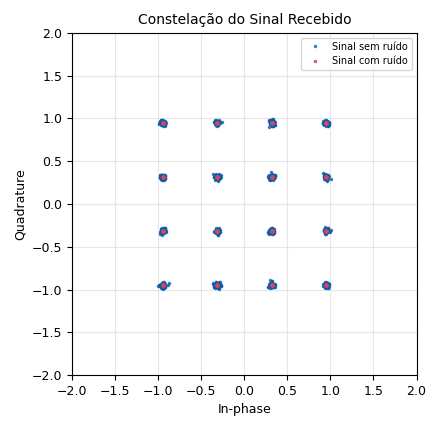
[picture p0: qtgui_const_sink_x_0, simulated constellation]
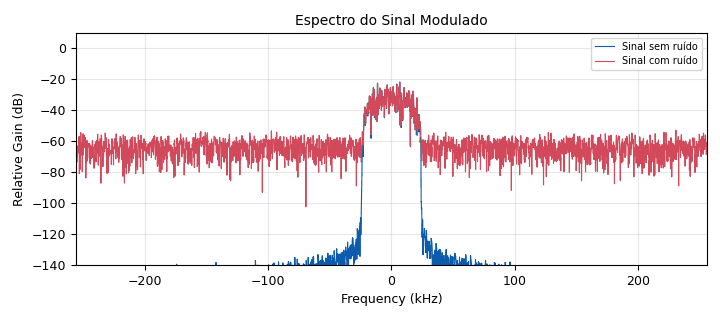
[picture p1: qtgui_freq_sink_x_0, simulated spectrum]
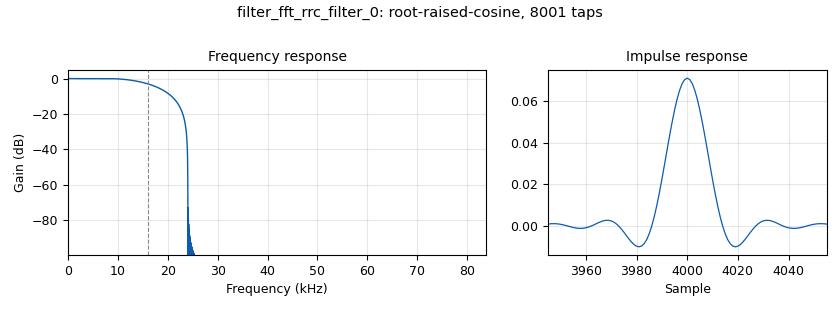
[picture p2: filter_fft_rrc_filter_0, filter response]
options:
  parameters:
    author: Leonardo Pessôa Bandeira Lacerda
    generate_options: qt_gui
    id: untitled
    output_language: python
    title: 'Modulação QAM com e sem ruído '
  states: {}

blocks:
- name: Constelação
  id: variable_constellation
  parameters:
    precision: '16'
    type: 16qam
  states: {}
- name: ruido
  id: variable_qtgui_range
  parameters:
    gui_hint: 3,0,1,2
    label: Variância do ruido
    min_len: '400'
    start: '0'
    step: '0.1'
    stop: '1.5'
    value: '0.10'
  states: {}
- name: samp_rate
  id: variable
  parameters:
    value: '512000'
  states: {}
- name: analog_noise_source_x_0
  id: analog_noise_source_x
  parameters:
    amp: ruido
    noise_type: analog.GR_GAUSSIAN
    seed: '0'
    type: complex
  states: {}
- name: analog_random_source_x_0
  id: analog_random_source_x
  parameters:
    max: '256'
    min: '0'
    num_samps: '10000'
    repeat: 'True'
    type: byte
  states: {}
- name: blocks_add_xx_0
  id: blocks_add_xx
  parameters:
    type: complex
  states: {}
- name: blocks_char_to_float_0
  id: blocks_char_to_float
  parameters:
    scale: '1'
  states: {}
- name: blocks_moving_average_xx_0_1
  id: blocks_moving_average_xx
  parameters:
    length: '100000'
    max_iter: '50000'
    scale: 1/(16*100000)
    type: float
  states: {}
- name: blocks_throttle2_0
  id: blocks_throttle2
  parameters:
    samples_per_second: samp_rate
    type: complex
  states: {}
- name: blocks_xor_xx_0
  id: blocks_xor_xx
  parameters:
    type: byte
  states: {}
- name: digital_constellation_decoder_cb_0
  id: digital_constellation_decoder_cb
  parameters:
    constellation: Constelação
  states: {}
- name: digital_constellation_decoder_cb_0_0
  id: digital_constellation_decoder_cb
  parameters:
    constellation: Constelação
  states: {}
- name: digital_constellation_modulator_0
  id: digital_constellation_modulator
  parameters:
    constellation: Constelação
    differential: 'True'
    excess_bw: '0.5'
    samples_per_symbol: '16'
  states: {}
- name: filter_fft_rrc_filter_0
  id: filter_fft_rrc_filter
  parameters:
    alpha: '0.5'
    decim: '16'
    gain: '1'
    ntaps: '8001'
    samp_rate: samp_rate
    sym_rate: samp_rate/16
    type: ccc
  states: {}
- name: filter_fft_rrc_filter_0_0
  id: filter_fft_rrc_filter
  parameters:
    alpha: '0.5'
    decim: '16'
    gain: '1'
    ntaps: '8001'
    samp_rate: samp_rate
    sym_rate: samp_rate/16
    type: ccc
  states: {}
- name: qtgui_const_sink_x_0
  id: qtgui_const_sink_x
  parameters:
    grid: 'True'
    label1: Sinal sem ruído
    label2: Sinal com ruído
    name: Constelação do Sinal Recebido
    nconnections: '2'
    size: '1024'
    type: complex
  states: {}
- name: qtgui_freq_sink_x_0
  id: qtgui_freq_sink_x
  parameters:
    bw: samp_rate
    fc: '0'
    fftsize: '4096'
    label1: Sinal sem ruído
    label2: Sinal com ruído
    name: Espectro do Sinal Modulado
    nconnections: '2'
    type: complex
  states: {}
- name: qtgui_number_sink_1
  id: qtgui_number_sink
  parameters:
    graph_type: qtgui.NUM_GRAPH_NONE
    gui_hint: 1,1,1,1
    label1: BER
    max: '0.5'
    min: '0'
    name: Taxa de erro de bit (BER)
    type: float
  states: {}

connections:
- [analog_noise_source_x_0, '0', blocks_add_xx_0, '1']
- [analog_random_source_x_0, '0', digital_constellation_modulator_0, '0']
- [blocks_add_xx_0, '0', filter_fft_rrc_filter_0, '0']
- [blocks_add_xx_0, '0', qtgui_freq_sink_x_0, '1']
- [blocks_char_to_float_0, '0', blocks_moving_average_xx_0_1, '0']
- [blocks_moving_average_xx_0_1, '0', qtgui_number_sink_1, '0']
- [blocks_throttle2_0, '0', blocks_add_xx_0, '0']
- [blocks_throttle2_0, '0', filter_fft_rrc_filter_0_0, '0']
- [blocks_throttle2_0, '0', qtgui_freq_sink_x_0, '0']
- [blocks_xor_xx_0, '0', blocks_char_to_float_0, '0']
- [digital_constellation_decoder_cb_0, '0', blocks_xor_xx_0, '0']
- [digital_constellation_decoder_cb_0_0, '0', blocks_xor_xx_0, '1']
- [digital_constellation_modulator_0, '0', blocks_throttle2_0, '0']
- [filter_fft_rrc_filter_0, '0', digital_constellation_decoder_cb_0, '0']
- [filter_fft_rrc_filter_0, '0', qtgui_const_sink_x_0, '0']
- [filter_fft_rrc_filter_0_0, '0', digital_constellation_decoder_cb_0_0, '0']
- [filter_fft_rrc_filter_0_0, '0', qtgui_const_sink_x_0, '1']

metadata:
  file_format: 1
  grc_version: 3.10.9.2
